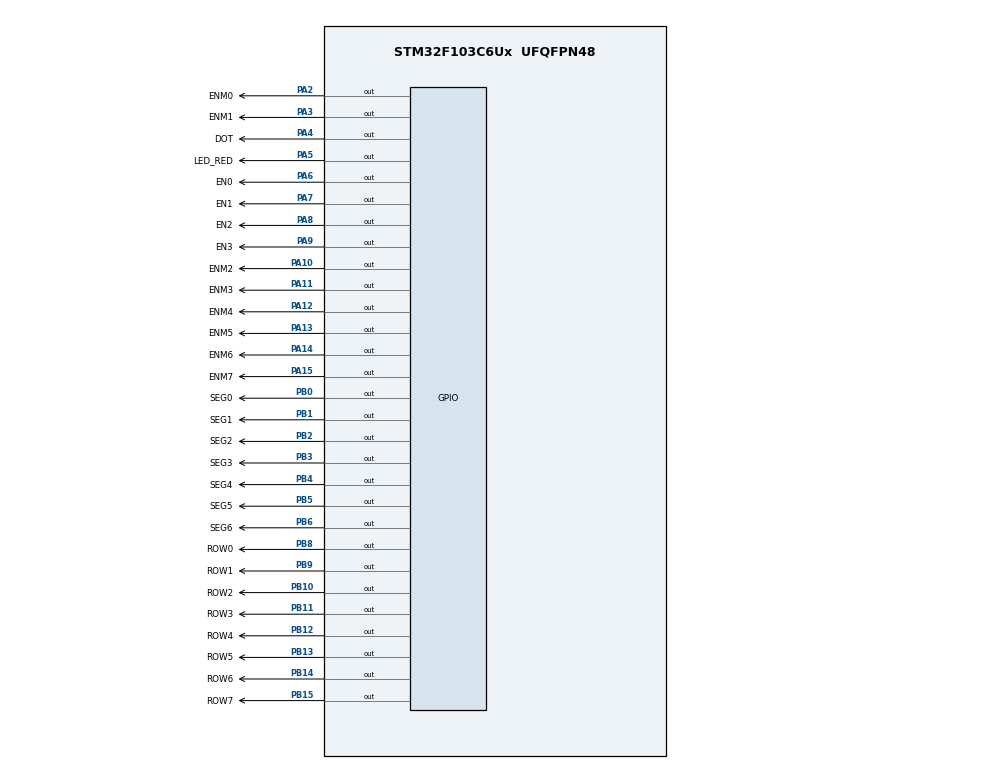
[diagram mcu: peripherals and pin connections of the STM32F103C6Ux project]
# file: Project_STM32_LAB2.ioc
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Mcu.Family=STM32F1
Mcu.Name=STM32F103C6Ux
Mcu.Package=UFQFPN48
NVIC.PriorityGroup=NVIC_PRIORITYGROUP_4
NVIC.TIM2_IRQn=true\:0\:0\:false\:false\:true\:true\:true
PA10.GPIO_Label=ENM2
PA10.Signal=GPIO_Output
PA11.GPIO_Label=ENM3
PA11.Signal=GPIO_Output
PA12.GPIO_Label=ENM4
PA12.Signal=GPIO_Output
PA13.GPIO_Label=ENM5
PA13.Signal=GPIO_Output
PA14.GPIO_Label=ENM6
PA14.Signal=GPIO_Output
PA15.GPIO_Label=ENM7
PA15.Signal=GPIO_Output
PA2.GPIO_Label=ENM0
PA2.Signal=GPIO_Output
PA3.GPIO_Label=ENM1
PA3.Signal=GPIO_Output
PA4.GPIO_Label=DOT
PA4.Signal=GPIO_Output
PA5.GPIO_Label=LED_RED
PA5.Signal=GPIO_Output
PA6.GPIO_Label=EN0
PA6.Signal=GPIO_Output
PA7.GPIO_Label=EN1
PA7.Signal=GPIO_Output
PA8.GPIO_Label=EN2
PA8.Signal=GPIO_Output
PA9.GPIO_Label=EN3
PA9.Signal=GPIO_Output
PB0.GPIO_Label=SEG0
PB0.Signal=GPIO_Output
PB1.GPIO_Label=SEG1
PB1.Signal=GPIO_Output
PB10.GPIO_Label=ROW2
PB10.Signal=GPIO_Output
PB11.GPIO_Label=ROW3
PB11.Signal=GPIO_Output
PB12.GPIO_Label=ROW4
PB12.Signal=GPIO_Output
PB13.GPIO_Label=ROW5
PB13.Signal=GPIO_Output
PB14.GPIO_Label=ROW6
PB14.Signal=GPIO_Output
PB15.GPIO_Label=ROW7
PB15.Signal=GPIO_Output
PB2.GPIO_Label=SEG2
PB2.Signal=GPIO_Output
PB3.GPIO_Label=SEG3
PB3.Signal=GPIO_Output
PB4.GPIO_Label=SEG4
PB4.Signal=GPIO_Output
PB5.GPIO_Label=SEG5
PB5.Signal=GPIO_Output
PB6.GPIO_Label=SEG6
PB6.Signal=GPIO_Output
PB8.GPIO_Label=ROW0
PB8.Signal=GPIO_Output
PB9.GPIO_Label=ROW1
PB9.Signal=GPIO_Output
ProjectManager.HeapSize=0x200
ProjectManager.StackSize=0x400
ProjectManager.TargetToolchain=STM32CubeIDE
RCC.APB1Freq_Value=8000000
RCC.APB2Freq_Value=8000000
TIM2.Period=9
TIM2.Prescaler=7999
VP_SYS_VS_ND.Mode=No_Debug
VP_TIM2_VS_ClockSourceINT.Mode=Internal
board=custom

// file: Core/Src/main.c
/* USER CODE BEGIN Header */
/**
  ******************************************************************************
  * @file           : main.c
  * @brief          : Main program body
  ******************************************************************************
  * @attention
  *
  * <h2><center>&copy; Copyright (c) 2024 STMicroelectronics.
  * All rights reserved.</center></h2>
  *
  * This software component is licensed by ST under BSD 3-Clause license,
  * the "License"; You may not use this file except in compliance with the
  * License. You may obtain a copy of the License at:
  *                        opensource.org/licenses/BSD-3-Clause
  *
  ******************************************************************************
  */
/* USER CODE END Header */
#include "main.h"

/* USER CODE BEGIN Includes */
#include "softwear_timer.h"
#include "global.h"
#include "exercise1.h"
#include "exercise9.h"
/* USER CODE END Includes */

TIM_HandleTypeDef htim2;

void SystemClock_Config(void);
static void MX_GPIO_Init(void);
static void MX_TIM2_Init(void);

int main(void)
{

  /* MCU Configuration--------------------------------------------------------*/

  /* Reset of all peripherals, Initializes the Flash interface and the Systick. */
  HAL_Init();

  /* Configure the system clock */
  SystemClock_Config();

  /* Initialize all configured peripherals */
  MX_GPIO_Init();
  MX_TIM2_Init();
  /* USER CODE BEGIN 2 */
  HAL_TIM_Base_Start_IT(&htim2);
  /* USER CODE END 2 */

  /* Infinite loop */
  /* USER CODE BEGIN WHILE */
  initExercise1();
  initExercise9();
  hour = 15;
  minute = 8;
  second = 50;
  setTimer(0, 1000);
  setTimer(1, 200); // display Clock
  setTimer(2, 1000); // update Clock Buffer
  setTimer(3, 10); // display ledMatrix
  setTimer(4, 200); // transition animation time
  while (1)
  {
	  if(timer_flag[0]){
		  setTimer(0, 1000);
		  HAL_GPIO_TogglePin(LED_RED_GPIO_Port, LED_RED_Pin);
		  HAL_GPIO_TogglePin(DOT_GPIO_Port, DOT_Pin);
	  }
	  if(timer_flag[1]){
		  setTimer(1, 200);
		  runExercise1();
	  }
	  if(timer_flag[2]){
		  setTimer(2, 1000);
		  handleTime();
	  }
	  if(timer_flag[3]){
		  setTimer(3, 10);
		  runExercise9();
	  }
	  if(timer_flag[4]){
		  setTimer(4, 200);
		  circularShiftRight(matrix_buffer, sizeof(matrix_buffer) / sizeof(matrix_buffer[0]), 1);
	  }

    /* USER CODE END WHILE */

  }
}

void SystemClock_Config(void)
{
  RCC_OscInitTypeDef RCC_OscInitStruct = {0};
  RCC_ClkInitTypeDef RCC_ClkInitStruct = {0};

  /** Initializes the RCC Oscillators according to the specified parameters
  * in the RCC_OscInitTypeDef structure.
  */
  RCC_OscInitStruct.OscillatorType = RCC_OSCILLATORTYPE_HSI;
  RCC_OscInitStruct.HSIState = RCC_HSI_ON;
  RCC_OscInitStruct.HSICalibrationValue = RCC_HSICALIBRATION_DEFAULT;
  RCC_OscInitStruct.PLL.PLLState = RCC_PLL_NONE;
  if (HAL_RCC_OscConfig(&RCC_OscInitStruct) != HAL_OK)
  {
    Error_Handler();
  }
  /** Initializes the CPU, AHB and APB buses clocks
  */
  RCC_ClkInitStruct.ClockType = RCC_CLOCKTYPE_HCLK|RCC_CLOCKTYPE_SYSCLK
                              |RCC_CLOCKTYPE_PCLK1|RCC_CLOCKTYPE_PCLK2;
  RCC_ClkInitStruct.SYSCLKSource = RCC_SYSCLKSOURCE_HSI;
  RCC_ClkInitStruct.AHBCLKDivider = RCC_SYSCLK_DIV1;
  RCC_ClkInitStruct.APB1CLKDivider = RCC_HCLK_DIV1;
  RCC_ClkInitStruct.APB2CLKDivider = RCC_HCLK_DIV1;

  if (HAL_RCC_ClockConfig(&RCC_ClkInitStruct, FLASH_LATENCY_0) != HAL_OK)
  {
    Error_Handler();
  }
}

static void MX_TIM2_Init(void)
{

  TIM_ClockConfigTypeDef sClockSourceConfig = {0};
  TIM_MasterConfigTypeDef sMasterConfig = {0};

  htim2.Instance = TIM2;
  htim2.Init.Prescaler = 7999;
  htim2.Init.CounterMode = TIM_COUNTERMODE_UP;
  htim2.Init.Period = 9;
  htim2.Init.ClockDivision = TIM_CLOCKDIVISION_DIV1;
  htim2.Init.AutoReloadPreload = TIM_AUTORELOAD_PRELOAD_DISABLE;
  if (HAL_TIM_Base_Init(&htim2) != HAL_OK)
  {
    Error_Handler();
  }
  sClockSourceConfig.ClockSource = TIM_CLOCKSOURCE_INTERNAL;
  if (HAL_TIM_ConfigClockSource(&htim2, &sClockSourceConfig) != HAL_OK)
  {
    Error_Handler();
  }
  sMasterConfig.MasterOutputTrigger = TIM_TRGO_RESET;
  sMasterConfig.MasterSlaveMode = TIM_MASTERSLAVEMODE_DISABLE;
  if (HAL_TIMEx_MasterConfigSynchronization(&htim2, &sMasterConfig) != HAL_OK)
  {
    Error_Handler();
  }

}

static void MX_GPIO_Init(void)
{
  GPIO_InitTypeDef GPIO_InitStruct = {0};

  /* GPIO Ports Clock Enable */
  __HAL_RCC_GPIOA_CLK_ENABLE();
  __HAL_RCC_GPIOB_CLK_ENABLE();

  /*Configure GPIO pin Output Level */
  HAL_GPIO_WritePin(GPIOA, ENM0_Pin|ENM1_Pin|DOT_Pin|LED_RED_Pin
                          |EN0_Pin|EN1_Pin|EN2_Pin|EN3_Pin
                          |ENM2_Pin|ENM3_Pin|ENM4_Pin|ENM5_Pin
                          |ENM6_Pin|ENM7_Pin, GPIO_PIN_RESET);

  /*Configure GPIO pin Output Level */
  HAL_GPIO_WritePin(GPIOB, SEG0_Pin|SEG1_Pin|SEG2_Pin|ROW2_Pin
                          |ROW3_Pin|ROW4_Pin|ROW5_Pin|ROW6_Pin
                          |ROW7_Pin|SEG3_Pin|SEG4_Pin|SEG5_Pin
                          |SEG6_Pin|ROW0_Pin|ROW1_Pin, GPIO_PIN_RESET);

  /*Configure GPIO pins : ENM0_Pin ENM1_Pin DOT_Pin LED_RED_Pin
                           EN0_Pin EN1_Pin EN2_Pin EN3_Pin
                           ENM2_Pin ENM3_Pin ENM4_Pin ENM5_Pin
                           ENM6_Pin ENM7_Pin */
  GPIO_InitStruct.Pin = ENM0_Pin|ENM1_Pin|DOT_Pin|LED_RED_Pin
                          |EN0_Pin|EN1_Pin|EN2_Pin|EN3_Pin
                          |ENM2_Pin|ENM3_Pin|ENM4_Pin|ENM5_Pin
                          |ENM6_Pin|ENM7_Pin;
  GPIO_InitStruct.Mode = GPIO_MODE_OUTPUT_PP;
  GPIO_InitStruct.Pull = GPIO_NOPULL;
  GPIO_InitStruct.Speed = GPIO_SPEED_FREQ_LOW;
  HAL_GPIO_Init(GPIOA, &GPIO_InitStruct);

  /*Configure GPIO pins : SEG0_Pin SEG1_Pin SEG2_Pin ROW2_Pin
                           ROW3_Pin ROW4_Pin ROW5_Pin ROW6_Pin
                           ROW7_Pin SEG3_Pin SEG4_Pin SEG5_Pin
                           SEG6_Pin ROW0_Pin ROW1_Pin */
  GPIO_InitStruct.Pin = SEG0_Pin|SEG1_Pin|SEG2_Pin|ROW2_Pin
                          |ROW3_Pin|ROW4_Pin|ROW5_Pin|ROW6_Pin
                          |ROW7_Pin|SEG3_Pin|SEG4_Pin|SEG5_Pin
                          |SEG6_Pin|ROW0_Pin|ROW1_Pin;
  GPIO_InitStruct.Mode = GPIO_MODE_OUTPUT_PP;
  GPIO_InitStruct.Pull = GPIO_NOPULL;
  GPIO_InitStruct.Speed = GPIO_SPEED_FREQ_LOW;
  HAL_GPIO_Init(GPIOB, &GPIO_InitStruct);

}

/* USER CODE BEGIN 4 */
void HAL_TIM_PeriodElapsedCallback(TIM_HandleTypeDef *htim){
	runTimer();
}
/* USER CODE END 4 */

void Error_Handler(void)
{
  __disable_irq();
  while (1)
  {
  }
}

/************************ (C) COPYRIGHT STMicroelectronics *****END OF FILE****/
